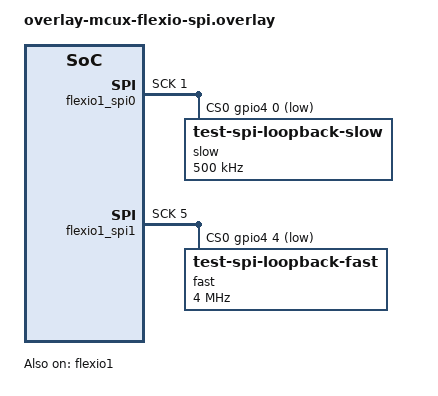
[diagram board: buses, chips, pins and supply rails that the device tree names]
/*
 * Copyright (c) 2024, STRIM, ALC
 *
 * SPDX-License-Identifier: Apache-2.0
 */

&pinctrl {
	pinmux_flexio1spi0: pinmux_flexio1spi0 {
		group0 {
			pinmux =
				<&iomuxc_gpio_emc_00_gpio4_io00>, /* cs */
				<&iomuxc_gpio_emc_01_flexio1_flexio01>, /* sck */
				<&iomuxc_gpio_emc_02_flexio1_flexio02>, /* sdo */
				<&iomuxc_gpio_emc_03_flexio1_flexio03>; /* sdi */
			drive-strength = "r0-6";
			slew-rate = "slow";
			nxp,speed = "150-mhz";
		};
	};
	pinmux_flexio1spi1: pinmux_flexio1spi1 {
		group0 {
			pinmux =
				<&iomuxc_gpio_emc_04_gpio4_io04>, /* cs */
				<&iomuxc_gpio_emc_05_flexio1_flexio05>, /* sck */
				<&iomuxc_gpio_emc_06_flexio1_flexio06>, /* sdo */
				<&iomuxc_gpio_emc_07_flexio1_flexio07>; /* sdi */
			drive-strength = "r0-6";
			slew-rate = "slow";
			nxp,speed = "150-mhz";
		};
	};
};

&flexio1 {
	status = "okay";
	flexio1_spi0: flexio1_spi0 {
		compatible = "nxp,flexio-spi";
		status = "okay";
		#address-cells = <1>;
		#size-cells = <0>;
		cs-gpios = <&gpio4 0 GPIO_ACTIVE_LOW>;
		sdo-pin = <2>;
		sdi-pin = <3>;
		sck-pin = <1>;
		pinctrl-0 = <&pinmux_flexio1spi0>;
		pinctrl-names = "default";
		slow@0 {
			status = "okay";
			compatible = "test-spi-loopback-slow";
			reg = <0>;
			spi-max-frequency = <500000>;
		};
	};
	flexio1_spi1: flexio1_spi1 {
		compatible = "nxp,flexio-spi";
		status = "okay";
		#address-cells = <1>;
		#size-cells = <0>;
		cs-gpios = <&gpio4 4 GPIO_ACTIVE_LOW>;
		sdo-pin = <6>;
		sdi-pin = <7>;
		sck-pin = <5>;
		pinctrl-0 = <&pinmux_flexio1spi1>;
		pinctrl-names = "default";
		fast@0 {
			status = "okay";
			compatible = "test-spi-loopback-fast";
			reg = <0>;
			spi-max-frequency = <4000000>;
		};
	};
};
